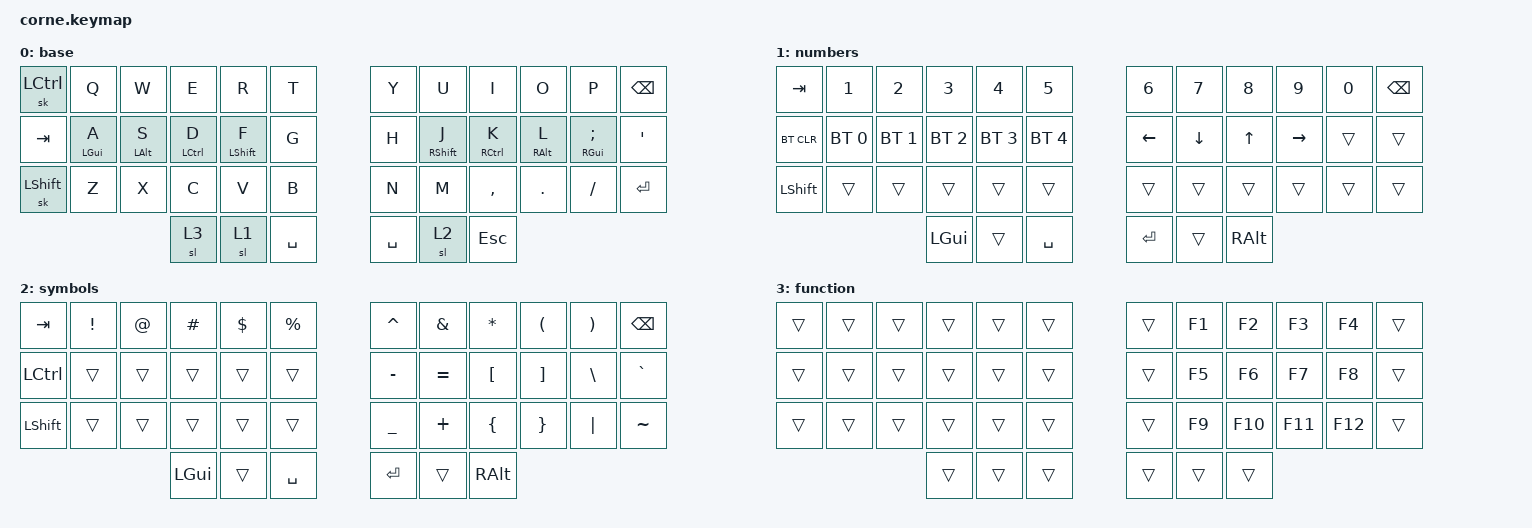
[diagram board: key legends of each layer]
/*
 * Copyright (c) 2020 The ZMK Contributors
 *
 * SPDX-License-Identifier: MIT
 */

#include <behaviors.dtsi>
#include <dt-bindings/zmk/bt.h>
#include <dt-bindings/zmk/keys.h>

/ {
    keymap {
        compatible = "zmk,keymap";

        base {
            // -----------------------------------------------------------------------------------------
            // |  TAB |  Q  |  W  |  E  |  R  |  T  |   |  Y  |  U   |  I  |  O  |  P  | BSPC |
            // | CTRL |  A  |  S  |  D  |  F  |  G  |   |  H  |  J   |  K  |  L  |  ;  |  '   |
            // | SHFT |  Z  |  X  |  C  |  V  |  B  |   |  N  |  M   |  ,  |  .  |  /  | ESC  |
            //                    | GUI | LWR | SPC |   | ENT | RSE  | ALT |

            bindings = <
&sk LEFT_CONTROL  &kp Q           &kp W           &kp E               &kp R             &kp T        &kp Y      &kp U              &kp I                &kp O            &kp P               &kp BSPC
&kp TAB           &mt LEFT_GUI A  &mt LEFT_ALT S  &mt LEFT_CONTROL D  &mt LEFT_SHIFT F  &kp G        &kp H      &mt RIGHT_SHIFT J  &mt RIGHT_CONTROL K  &mt RIGHT_ALT L  &mt RIGHT_GUI SEMI  &kp SQT
&sk LEFT_SHIFT    &kp Z           &kp X           &kp C               &kp V             &kp B        &kp N      &kp M              &kp COMMA            &kp DOT          &kp FSLH            &kp ENTER
                                                  &sl 3               &sl 1             &kp SPACE    &kp SPACE  &sl 2              &kp ESC
            >;
        };

        numbers {
            // -----------------------------------------------------------------------------------------
            // |  TAB |  1  |  2  |  3  |  4  |  5  |   |  6  |  7  |  8  |  9  |  0  | BSPC |
            // | BTCLR| BT1 | BT2 | BT3 | BT4 | BT5 |   | LFT | DWN |  UP | RGT |     |      |
            // | SHFT |     |     |     |     |     |   |     |     |     |     |     |      |
            //                    | GUI |     | SPC |   | ENT |     | ALT |

            bindings = <
&kp TAB     &kp N1        &kp N2        &kp N3        &kp N4        &kp N5          &kp N6    &kp N7    &kp N8    &kp N9     &kp N0  &kp BSPC
&bt BT_CLR  &bt BT_SEL 0  &bt BT_SEL 1  &bt BT_SEL 2  &bt BT_SEL 3  &bt BT_SEL 4    &kp LEFT  &kp DOWN  &kp UP    &kp RIGHT  &trans  &trans
&kp LSHFT   &trans        &trans        &trans        &trans        &trans          &trans    &trans    &trans    &trans     &trans  &trans
                                        &kp LGUI      &trans        &kp SPACE       &kp RET   &trans    &kp RALT
            >;
        };

        symbols {
            // -----------------------------------------------------------------------------------------
            // |  TAB |  !  |  @  |  #  |  $  |  %  |   |  ^  |  &  |  *  |  (  |  )  | BSPC |
            // | CTRL |     |     |     |     |     |   |  -  |  =  |  [  |  ]  |  \  |  `   |
            // | SHFT |     |     |     |     |     |   |  _  |  +  |  {  |  }  | "|" |  ~   |
            //                    | GUI |     | SPC |   | ENT |     | ALT |

            bindings = <
&kp TAB    &kp EXCL  &kp AT  &kp HASH  &kp DLLR  &kp PRCNT    &kp CARET  &kp AMPS   &kp ASTRK  &kp LPAR  &kp RPAR  &kp BSPC
&kp LCTRL  &trans    &trans  &trans    &trans    &trans       &kp MINUS  &kp EQUAL  &kp LBKT   &kp RBKT  &kp BSLH  &kp GRAVE
&kp LSHFT  &trans    &trans  &trans    &trans    &trans       &kp UNDER  &kp PLUS   &kp LBRC   &kp RBRC  &kp PIPE  &kp TILDE
                             &kp LGUI  &trans    &kp SPACE    &kp RET    &trans     &kp RALT
            >;
        };

        function {
            bindings = <
&trans  &trans  &trans  &trans  &trans  &trans    &trans  &kp F1  &kp F2   &kp F3   &kp F4   &trans
&trans  &trans  &trans  &trans  &trans  &trans    &trans  &kp F5  &kp F6   &kp F7   &kp F8   &trans
&trans  &trans  &trans  &trans  &trans  &trans    &trans  &kp F9  &kp F10  &kp F11  &kp F12  &trans
                        &trans  &trans  &trans    &trans  &trans  &trans
            >;
        };
    };
};
